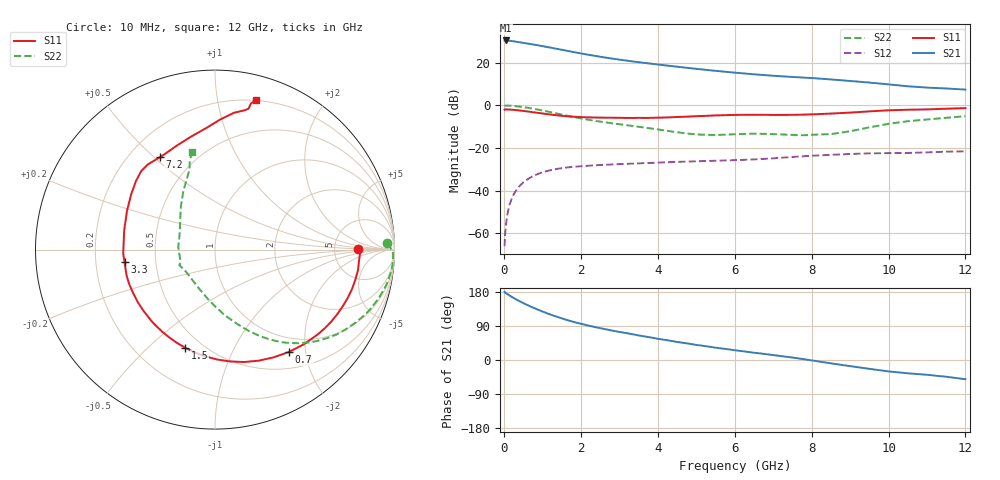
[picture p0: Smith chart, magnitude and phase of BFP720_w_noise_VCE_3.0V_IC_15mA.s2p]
! Infineon Technologies  Discrete & RF Semiconductors
! BFP720
! VCE =  3.0 V,  IC =  15 mA
! Common Emitter S-Parameters:  Aug 2012
# GHz  S  MA  R  50
!  f  S11  S21  S12  S22
! GHz  MAG  ANG  MAG  ANG  MAG  ANG  MAG  ANG
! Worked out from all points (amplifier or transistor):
!   105 points, 10 MHz to 12 GHz, reference 50 ohm
!   highest |S21| = 30.5 dB at 50 MHz (marker M1)
!   |S21| within 3 dB of that: start of sweep to 1.097 GHz
!   unconditionally stable (mu >= 1): 4.833 GHz to 11.05 GHz
!   at 300 MHz: K = 0.12, MSG = 35.0 dB, |S12| = -40.1 dB
!   at 3.6 GHz: K = 0.82, MSG = 23.6 dB, |S12| = -27.1 dB
!   at 12 GHz: K = 0.77, MSG = 14.5 dB, |S12| = -21.5 dB
!   lowest NFmin = 0.63 dB at 450 MHz
!   S11 on the Smith chart (normalised r, x): 10 MHz: 8.74, +0.13; 700 MHz: 0.76, -1.71; 1.5 GHz: 0.41, -0.66; 3.3 GHz: 0.33, -0.06; 7.2 GHz: 0.32, +0.52; 12 GHz: 0.19, +1.29
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0.01  0.7946 0.2  33.25 179.8  0.0005 -132.1  0.9606 2.1
0.02  0.8083 -1.5  33.27 177.9  0.0009 88.9  0.9898 -0.4
0.05  0.8053 -3.9  33.44 176.0  0.0017 85.6  0.993 -2.1
0.15  0.7997 -12.2  32.82 169.5  0.005 83.6  0.988 -7.3
0.25  0.7865 -20.2  31.9 163.3  0.0083 79.2  0.9723 -12.2
0.35  0.7703 -27.9  30.82 157.7  0.0113 75.6  0.9502 -16.8
0.5  0.743 -39.3  29.31 149.9  0.0157 69.5  0.9121 -23.3
0.7  0.704 -54.0  27.39 140.5  0.0209 62.9  0.8542 -31.3
0.9  0.6651 -68.5  25.51 131.9  0.0252 56.8  0.7928 -38.6
1.1  0.6292 -82.2  23.65 123.8  0.0288 51.2  0.7291 -45.3
1.5  0.5717 -106.9  20.18 109.7  0.0338 42.5  0.611 -56.4
1.8  0.5441 -122.5  17.92 100.7  0.0363 37.5  0.5367 -63.1
2.1  0.5277 -135.1  15.97 93.1  0.038 33.9  0.4777 -68.6
2.6  0.5164 -152.1  13.41 81.8  0.0404 29.5  0.4045 -76.6
3.3  0.5088 -172.0  10.91 68.7  0.0431 25.7  0.3335 -86.8
4.1  0.5191 165.7  8.904 54.4  0.046 22.6  0.265 -101.5
5  0.5599 146.4  7.22 39.7  0.0489 19.6  0.2097 -127.9
6.1  0.6006 132.3  5.771 24.5  0.0525 17.6  0.2122 -153.1
7.2  0.5997 121.0  4.841 10.4  0.0592 16.6  0.2092 -158.4
8.5  0.644 101.8  4.073 -8.8  0.0693 9.8  0.2124 158.5
10.5  0.7929 78.1  2.816 -35.1  0.0769 -2.9  0.4258 111.5
12  0.8659 74.6  2.352 -50.7  0.0837 -11.7  0.5573 103.4
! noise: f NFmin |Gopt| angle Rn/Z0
0.45  0.63  0.22  1  0.43
1.8  0.7  0.22  14  0.13
2.4  0.75  0.2  22  0.38
5.5  0.93  0.1  -30  0.18
10  1.11  0.44  -74  0.27
